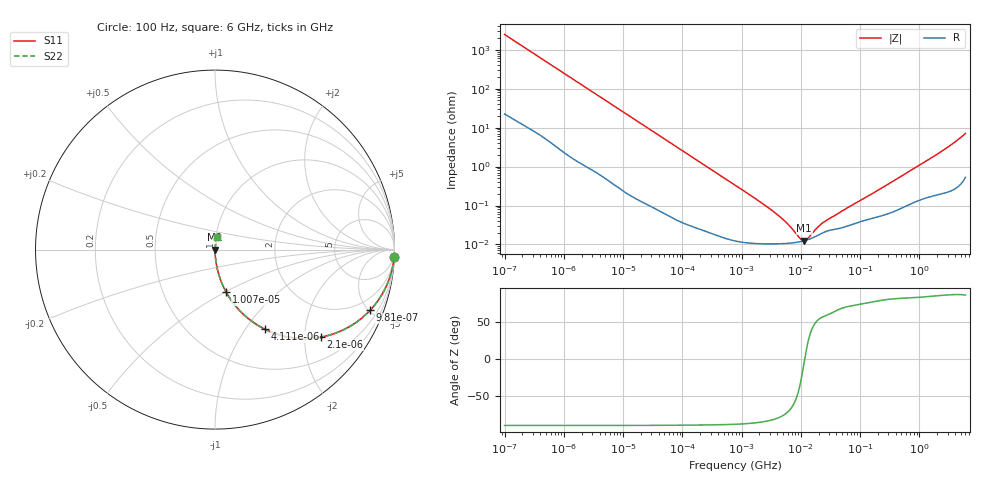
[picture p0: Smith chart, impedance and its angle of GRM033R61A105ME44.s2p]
!Murata Part Number: GRM033R61A105ME44
!These Parameters are Measured in Series Mode Connection
!Data Generated on Mar 30, 2021
!  o--ll--o
!Port1  Port2
!  o------o
!Operation Temp=25[degC], DC Bias Voltage=0[V]
!Freq. Start=100[Hz] Stop=6[GHz] 401[Steps]
# Hz S RI R 50
!Freq.(Hz) S11(Real) S11(Imag) S21(Real) S21(Imag) S12(Real) S12(Imag) S22(Real) S22(Imag)
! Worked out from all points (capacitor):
!   401 points, 100 Hz to 6 GHz, reference 50 ohm
!   read as one part in series: C = 642 nF near 109 Hz
!   lowest |Z| = 12.5 mohm at 11.37 MHz (marker M1)
!   series resonance near 11.66 MHz, so ESL is about 290 pH
!   S11 on the Smith chart (normalised r, x): 100 Hz: 1, -49; 981 Hz: 1.05, -5.12; 2.1 kHz: 1.02, -2.40; 4.111 kHz: 1.01, -1.23; 10.07 kHz: 1.00, -0.51; 6 GHz: 1.01, +0.14
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100  0.998 -0.0404  0.002 0.0404  0.002 0.0404  0.998 -0.0404
335  0.981 -0.1317  0.019 0.1317  0.019 0.1317  0.981 -0.1317
600  0.9437 -0.2255  0.0563 0.2255  0.0563 0.2255  0.9437 -0.2255
981  0.8652 -0.3369  0.1348 0.3369  0.1348 0.3369  0.8652 -0.3369
2008  0.6104 -0.4831  0.3896 0.4831  0.3896 0.4831  0.6104 -0.4831
2100  0.5892 -0.4874  0.4108 0.4874  0.4108 0.4874  0.5892 -0.4874
4111  0.2767 -0.4425  0.7233 0.4425  0.7233 0.4425  0.2767 -0.4425
6151  0.1478 -0.3501  0.8522 0.3501  0.8522 0.3501  0.1478 -0.3501
10066  0.062 -0.2365  0.938 0.2365  0.938 0.2365  0.062 -0.2365
40335  0.00475 -0.0632  0.9953 0.0632  0.9953 0.0632  0.00475 -0.0632
774597  0.000134 -0.00337  0.9999 0.00337  0.9999 0.00337  0.000134 -0.00337
3882480  0.000104 -0.0006  0.9999 0.0006  0.9999 0.0006  0.000104 -0.0006
6075234  0.000107 -0.000313  0.9999 0.000313  0.9999 0.000313  0.000107 -0.000313
9941735  0.000118 -7.09e-05  0.9999 7.09e-05  0.9999 7.09e-05  0.000118 -7.09e-05
1.137099e7  0.000124 -1.1e-05  0.9999 1.1e-05  0.9999 1.1e-05  0.000124 -1.1e-05
1.300572e7  0.000132 4.8e-05  0.9999 -4.8e-05  0.9999 -4.8e-05  0.000132 4.8e-05
1.555665e7  0.000146 0.000126  0.9999 -0.000126  0.9999 -0.000126  0.000146 0.000126
2.035112e7  0.000178 0.000241  0.9998 -0.000241  0.9998 -0.000241  0.000178 0.000241
2.662322e7  0.000216 0.000348  0.9998 -0.000348  0.9998 -0.000348  0.000216 0.000348
3.124326e8  0.000644 0.00363  0.9994 -0.00363  0.9994 -0.00363  0.000644 0.00363
2.048624e9  0.00232 0.0211  0.9977 -0.0211  0.9977 -0.0211  0.00232 0.0211
6e9  0.0102 0.0698  0.9898 -0.0698  0.9898 -0.0698  0.0102 0.0698
